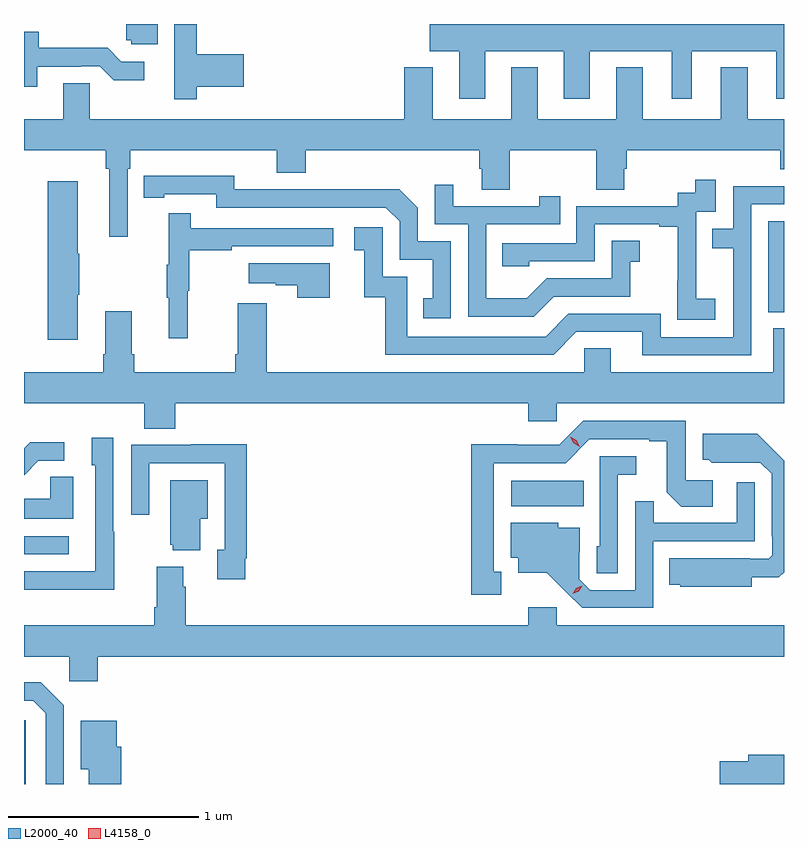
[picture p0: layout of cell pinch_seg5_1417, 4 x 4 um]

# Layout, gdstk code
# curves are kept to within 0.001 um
import gdstk
lib = gdstk.Library(unit=1e-6, precision=1e-09)
def R(c, l, rs):  # rectangles x0, y0, x1, y1
    for r in rs: c.add(gdstk.rectangle(r[:2], r[2:], *l))
def P(c, l, *ps):  # polygons
    for p in ps: c.add(gdstk.Polygon(p, *l))
L2000_40 = (2000, 40)
L4158_0 = (4158, 0)

pinch_seg5_1417 = lib.new_cell('pinch_seg5_1417')
R(pinch_seg5_1417, L2000_40, [(158.343,881.397,158.352,881.733), (158.343,882.606,158.578,882.702), (160.908,882.86,161.288,882.994), (162.261,883.881,162.343,884.358)])
P(pinch_seg5_1417, L2000_40, [(160.771,885.254),(161.183,885.254),(161.183,885.003),(161.32,885.003),(161.32,885.254),(161.753,885.254),(161.753,885.003),(161.857,885.003),(161.857,885.254),(162.302,885.254),(162.302,885.003),(162.343,885.003),(162.343,885.397),(160.478,885.397),(160.478,885.254),(160.634,885.254),(160.634,885.003),(160.771,885.003)],
  [(159.251,885.068),(159.499,885.068),(159.499,885.239),(159.251,885.239),(159.251,885.397),(159.135,885.397),(159.135,885.222),(159.134,885.222),(159.134,885),(159.251,885)],
  [(159.046,885.397),(158.882,885.397),(158.882,885.312),(158.907,885.312),(158.907,885.291),(159.046,885.291)],
  [(158.413,885.171),(158.642,885.171),(158.642,885.174),(158.742,885.174),(158.815,885.101),(158.977,885.101),(158.977,885.198),(158.856,885.198),(158.783,885.271),(158.421,885.271),(158.421,885.355),(158.343,885.355),(158.343,885.066),(158.413,885.066)],
  [(160.495,885.169),(160.343,885.169),(160.343,884.896),(158.688,884.896),(158.688,885.086),(158.549,885.086),(158.549,884.896),(158.343,884.896),(158.343,884.732),(158.773,884.732),(158.773,884.636),(158.792,884.636),(158.792,884.277),(158.889,884.277),(158.889,884.636),(158.903,884.636),(158.903,884.732),(159.674,884.732),(159.674,884.615),(159.827,884.615),(159.827,884.732),(160.739,884.732),(160.739,884.634),(160.751,884.634),(160.751,884.524),(160.899,884.524),(160.899,884.732),(161.356,884.732),(161.356,884.524),(161.503,884.524),(161.503,884.634),(161.516,884.634),(161.516,884.732),(162.323,884.732),(162.323,884.633),(162.343,884.633),(162.343,884.896),(162.151,884.896),(162.151,885.169),(162.011,885.169),(162.011,884.896),(161.599,884.896),(161.599,885.169),(161.459,885.169),(161.459,884.896),(161.047,884.896),(161.047,885.169),(160.907,885.169),(160.907,884.896),(160.495,884.896)],
  [(160.59,884.253),(160.416,884.253),(160.416,884.43),(160.318,884.528),(159.91,884.528),(159.91,884.526),(159.45,884.526),(159.45,884.599),(158.974,884.598),(158.974,884.482),(159.082,884.482),(159.082,884.502),(159.354,884.502),(159.354,884.43),(160.248,884.43),(160.32,884.358),(160.32,884.157),(160.493,884.157),(160.493,883.953),(160.444,883.953),(160.444,883.848),(160.59,883.848)],
  [(161.98,883.951),(161.882,883.951),(161.882,884.18),(161.88,884.18),(161.88,884.409),(161.985,884.409),(161.985,884.578),(161.877,884.578),(161.877,884.508),(161.784,884.508),(161.784,884.439),(161.25,884.439),(161.25,884.244),(160.861,884.244),(160.861,884.121),(161.001,884.121),(161.001,884.148),(161.346,884.148),(161.346,884.343),(161.687,884.343),(161.687,884.331),(161.783,884.331),(161.783,884.047),(161.782,884.047),(161.782,883.841),(161.98,883.841)],
  [(158.626,883.972),(158.634,883.972),(158.634,884.189),(158.626,884.189),(158.626,884.569),(158.468,884.569),(158.468,883.734),(158.626,883.734)],
  [(161.131,883.962),(161.535,883.962),(161.535,884.147),(161.584,884.147),(161.584,884.257),(161.436,884.257),(161.436,884.058),(161.094,884.058),(160.99,883.954),(160.776,883.954),(160.776,884.343),(161.165,884.343),(161.165,884.491),(161.054,884.491),(161.054,884.439),(160.603,884.439),(160.603,884.551),(160.506,884.551),(160.506,884.343),(160.68,884.343),(160.68,883.857),(161.026,883.857)],
  [(162.171,884.448),(162.343,884.448),(162.343,884.544),(162.075,884.544),(162.075,884.319),(161.965,884.319),(161.965,884.218),(162.075,884.218),(162.075,883.749),(161.694,883.749),(161.694,883.872),(161.208,883.872),(161.088,883.752),(160.359,883.752),(160.359,884.067),(160.23,884.067),(160.23,884.326),(160.08,884.326),(160.08,884.205),(160.133,884.205),(160.133,883.959),(160.243,883.959),(160.243,883.656),(161.13,883.656),(161.25,883.776),(161.597,883.776),(161.597,883.653),(162.171,883.653)],
  [(159.206,883.992),(159.214,883.992),(159.214,884.206),(159.437,884.206),(159.437,884.226),(159.97,884.226),(159.97,884.322),(159.221,884.322),(159.221,884.401),(159.104,884.401),(159.104,884.129),(159.093,884.129),(159.093,883.955),(159.104,883.955),(159.104,883.743),(159.206,883.743)],
  [(159.952,884.137),(159.525,884.137),(159.525,884.033),(159.668,884.033),(159.668,884.023),(159.782,884.023),(159.782,883.956),(159.952,883.956)],
  [(159.14,883.4),(160.997,883.4),(160.997,883.307),(161.148,883.307),(161.148,883.4),(162.343,883.4),(162.343,883.796),(162.287,883.796),(162.287,883.564),(161.431,883.564),(161.431,883.691),(161.292,883.691),(161.292,883.564),(159.62,883.564),(159.62,883.927),(159.467,883.927),(159.467,883.66),(159.455,883.66),(159.455,883.564),(158.924,883.564),(158.924,883.66),(158.911,883.66),(158.911,883.885),(158.771,883.885),(158.771,883.66),(158.759,883.66),(158.759,883.564),(158.343,883.564),(158.343,883.4),(158.975,883.4),(158.975,883.267),(159.14,883.267)],
  [(160.855,882.513),(160.816,882.513),(160.816,883.086),(161.193,883.086),(161.319,883.212),(161.633,883.212),(161.633,883.2),(161.727,883.2),(161.727,882.932),(161.803,882.856),(161.968,882.856),(161.968,882.996),(161.826,882.996),(161.826,883.308),(161.286,883.308),(161.16,883.182),(160.938,883.182),(160.938,883.184),(160.698,883.184),(160.698,882.393),(160.855,882.393)],
  [(162.172,882.485),(162.316,882.485),(162.343,882.512),(162.343,883.098),(162.203,883.24),(161.915,883.24),(161.915,883.104),(161.946,883.104),(161.962,883.088),(162.219,883.089),(162.279,883.029),(162.279,882.7),(162.282,882.7),(162.282,882.6),(162.264,882.582),(162.164,882.582),(162.164,882.586),(161.74,882.586),(161.74,882.446),(161.796,882.446),(161.796,882.434),(162.172,882.434)],
  [(158.817,882.725),(158.814,882.725),(158.814,883.219),(158.699,883.219),(158.699,883.074),(158.718,883.074),(158.718,882.516),(158.343,882.516),(158.343,882.42),(158.353,882.42),(158.353,882.419),(158.817,882.419)],
  [(158.419,883.098),(158.554,883.098),(158.554,883.196),(158.375,883.196),(158.343,883.164),(158.343,883.022)],
  [(159.508,882.586),(159.515,882.586),(159.515,883.184),(159.223,883.184),(159.223,883.182),(158.907,883.182),(158.907,882.813),(159.003,882.813),(159.003,883.086),(159.399,883.086),(159.399,882.63),(159.359,882.63),(159.359,882.474),(159.508,882.474)],
  [(161.469,883.025),(161.566,883.025),(161.566,883.122),(161.373,883.122),(161.373,882.648),(161.358,882.648),(161.358,882.505),(161.469,882.505)],
  [(158.602,883.013),(158.481,883.013),(158.481,882.898),(158.343,882.898),(158.343,882.794),(158.602,882.794)],
  [(159.271,882.794),(159.31,882.794),(159.31,882.997),(159.113,882.997),(159.113,882.657),(159.125,882.657),(159.125,882.626),(159.271,882.626)],
  [(161.655,882.675),(162.189,882.675),(162.189,882.985),(162.093,882.985),(162.093,882.771),(161.657,882.771),(161.657,882.884),(161.559,882.884),(161.559,882.417),(161.322,882.417),(161.265,882.474),(161.265,882.616),(161.269,882.616),(161.269,882.745),(161.154,882.745),(161.154,882.772),(160.904,882.772),(160.904,882.588),(160.943,882.588),(160.943,882.509),(161.095,882.509),(161.282,882.324),(161.655,882.324)],
  [(158.732,882.068),(162.343,882.068),(162.343,882.232),(161.148,882.232),(161.148,882.328),(160.997,882.328),(160.997,882.232),(159.194,882.232),(159.194,882.434),(159.181,882.434),(159.181,882.541),(159.041,882.541),(159.041,882.328),(159.029,882.328),(159.029,882.232),(158.343,882.232),(158.343,882.068),(158.58,882.068),(158.58,881.937),(158.732,881.937)],
  [(158.553,881.811),(158.432,881.932),(158.343,881.932),(158.343,881.835),(158.391,881.835),(158.457,881.769),(158.457,881.397),(158.553,881.397)],
  [(158.855,881.592),(158.83,881.592),(158.83,881.731),(158.642,881.731),(158.642,881.474),(158.684,881.474),(158.684,881.397),(158.855,881.397)],
  [(162.343,881.552),(162.155,881.552),(162.155,881.516),(162.006,881.516),(162.006,881.397),(162.343,881.397)])
P(pinch_seg5_1417, L4158_0, [(161.232,882.398),(161.232,882.398),(161.25,882.427),(161.281,882.441),(161.281,882.441),(161.281,882.441),(161.263,882.412),(161.232,882.398)],
  [(161.267,883.173),(161.235,883.192),(161.217,883.224),(161.217,883.225),(161.217,883.225),(161.249,883.206),(161.267,883.173),(161.267,883.173)])

lib.write_gds('pinch_seg5_1417.gds')
